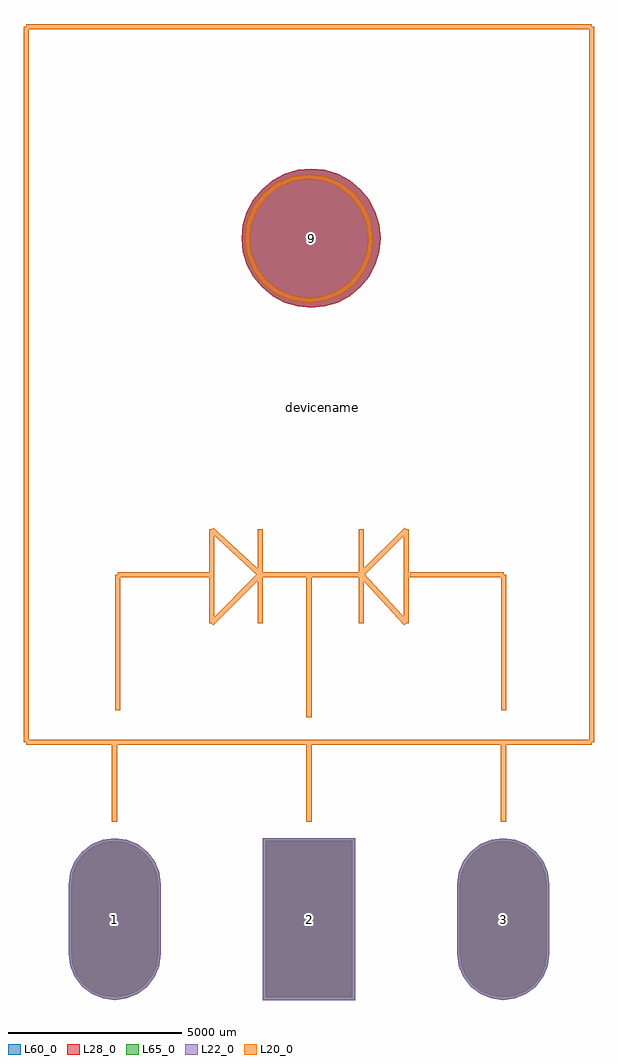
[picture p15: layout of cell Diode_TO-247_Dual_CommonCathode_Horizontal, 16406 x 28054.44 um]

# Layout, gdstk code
import gdstk
lib = gdstk.Library(unit=1e-6, precision=1e-09)
def R(c, l, rs):  # rectangles x0, y0, x1, y1
    for r in rs: c.add(gdstk.rectangle(r[:2], r[2:], *l))
def P(c, l, *ps):  # polygons
    for p in ps: c.add(gdstk.Polygon(p, *l))
L20_0 = (20, 0)
L22_0 = (22, 0)
L28_0 = (28, 0)
L60_0 = (60, 0)
L65_0 = (65, 0)

diode_to_247_dual_common = lib.new_cell('Diode_TO-247_Dual_CommonCathode_Horizontal')
R(diode_to_247_dual_common, L22_0, [(4260.78,-2325.44,6910.14,2325.44)])
P(diode_to_247_dual_common, L22_0, [(11173.46,-2325.44),(11516.312,-2280.303),(11835.8,-2147.967),(12110.15,-1937.45),(12320.667,-1663.1),(12453.003,-1343.612),(12498.14,-1000.76),(12498.14,1000.76),(12453.003,1343.612),(12320.667,1663.1),(12110.15,1937.45),(11835.8,2147.967),(11516.312,2280.303),(11173.46,2325.44),(10830.608,2280.303),(10511.12,2147.967),(10236.77,1937.45),(10026.253,1663.1),(9893.917,1343.612),(9848.78,1000.76),(9848.78,-1000.76),(9893.917,-1343.612),(10026.253,-1663.1),(10236.77,-1937.45),(10511.12,-2147.967),(10830.608,-2280.303)],
  [(-2.54,-2325.44),(340.312,-2280.303),(659.8,-2147.967),(934.15,-1937.45),(1144.667,-1663.1),(1277.003,-1343.612),(1322.14,-1000.76),(1322.14,1000.76),(1277.003,1343.612),(1144.667,1663.1),(934.15,1937.45),(659.8,2147.967),(340.312,2280.303),(-2.54,2325.44),(-345.392,2280.303),(-664.88,2147.967),(-939.23,1937.45),(-1149.747,1663.1),(-1282.083,1343.612),(-1327.22,1000.76),(-1327.22,-1000.76),(-1282.083,-1343.612),(-1149.747,-1663.1),(-939.23,-1937.45),(-664.88,-2147.967),(-345.392,-2280.303)])
R(diode_to_247_dual_common, L28_0, [(4335.78,-2250.44,6835.14,2250.44)])
P(diode_to_247_dual_common, L28_0, [(7649.21,19570.7),(7610.776,19960.929),(7496.95,20336.163),(7312.107,20681.979),(7063.35,20985.09),(6760.239,21233.847),(6414.423,21418.69),(6039.189,21532.516),(5648.96,21570.95),(5258.731,21532.516),(4883.497,21418.69),(4537.681,21233.847),(4234.57,20985.09),(3985.813,20681.979),(3800.97,20336.163),(3687.144,19960.929),(3648.71,19570.7),(3687.144,19180.471),(3800.97,18805.237),(3985.813,18459.421),(4234.57,18156.31),(4537.681,17907.553),(4883.497,17722.71),(5258.731,17608.884),(5648.96,17570.45),(6039.189,17608.884),(6414.423,17722.71),(6760.239,17907.553),(7063.35,18156.31),(7312.107,18459.421),(7496.95,18805.237),(7610.776,19180.471)],
  [(11173.46,-2250.44),(11496.901,-2207.858),(11798.3,-2083.015),(12057.117,-1884.417),(12255.715,-1625.6),(12380.558,-1324.201),(12423.14,-1000.76),(12423.14,1000.76),(12380.558,1324.201),(12255.715,1625.6),(12057.117,1884.417),(11798.3,2083.015),(11496.901,2207.858),(11173.46,2250.44),(10850.019,2207.858),(10548.62,2083.015),(10289.803,1884.417),(10091.205,1625.6),(9966.362,1324.201),(9923.78,1000.76),(9923.78,-1000.76),(9966.362,-1324.201),(10091.205,-1625.6),(10289.803,-1884.417),(10548.62,-2083.015),(10850.019,-2207.858)],
  [(-2.54,-2250.44),(320.901,-2207.858),(622.3,-2083.015),(881.117,-1884.417),(1079.715,-1625.6),(1204.558,-1324.201),(1247.14,-1000.76),(1247.14,1000.76),(1204.558,1324.201),(1079.715,1625.6),(881.117,1884.417),(622.3,2083.015),(320.901,2207.858),(-2.54,2250.44),(-325.981,2207.858),(-627.38,2083.015),(-886.197,1884.417),(-1084.795,1625.6),(-1209.638,1324.201),(-1252.22,1000.76),(-1252.22,-1000.76),(-1209.638,-1324.201),(-1084.795,-1625.6),(-886.197,-1884.417),(-627.38,-2083.015),(-325.981,-2207.858)])
R(diode_to_247_dual_common, L60_0, [(4335.78,-2250.44,6835.14,2250.44)])
P(diode_to_247_dual_common, L60_0, [(7649.21,19570.7),(7610.776,19960.929),(7496.95,20336.163),(7312.107,20681.979),(7063.35,20985.09),(6760.239,21233.847),(6414.423,21418.69),(6039.189,21532.516),(5648.96,21570.95),(5258.731,21532.516),(4883.497,21418.69),(4537.681,21233.847),(4234.57,20985.09),(3985.813,20681.979),(3800.97,20336.163),(3687.144,19960.929),(3648.71,19570.7),(3687.144,19180.471),(3800.97,18805.237),(3985.813,18459.421),(4234.57,18156.31),(4537.681,17907.553),(4883.497,17722.71),(5258.731,17608.884),(5648.96,17570.45),(6039.189,17608.884),(6414.423,17722.71),(6760.239,17907.553),(7063.35,18156.31),(7312.107,18459.421),(7496.95,18805.237),(7610.776,19180.471)],
  [(11173.46,-2250.44),(11496.901,-2207.858),(11798.3,-2083.015),(12057.117,-1884.417),(12255.715,-1625.6),(12380.558,-1324.201),(12423.14,-1000.76),(12423.14,1000.76),(12380.558,1324.201),(12255.715,1625.6),(12057.117,1884.417),(11798.3,2083.015),(11496.901,2207.858),(11173.46,2250.44),(10850.019,2207.858),(10548.62,2083.015),(10289.803,1884.417),(10091.205,1625.6),(9966.362,1324.201),(9923.78,1000.76),(9923.78,-1000.76),(9966.362,-1324.201),(10091.205,-1625.6),(10289.803,-1884.417),(10548.62,-2083.015),(10850.019,-2207.858)],
  [(-2.54,-2250.44),(320.901,-2207.858),(622.3,-2083.015),(881.117,-1884.417),(1079.715,-1625.6),(1204.558,-1324.201),(1247.14,-1000.76),(1247.14,1000.76),(1204.558,1324.201),(1079.715,1625.6),(881.117,1884.417),(622.3,2083.015),(320.901,2207.858),(-2.54,2250.44),(-325.981,2207.858),(-627.38,2083.015),(-886.197,1884.417),(-1084.795,1625.6),(-1209.638,1324.201),(-1252.22,1000.76),(-1252.22,-1000.76),(-1209.638,-1324.201),(-1084.795,-1625.6),(-886.197,-1884.417),(-627.38,-2083.015),(-325.981,-2207.858)])
R(diode_to_247_dual_common, L65_0, [(4260.78,-2325.44,6910.14,2325.44)])
P(diode_to_247_dual_common, L65_0, [(11173.46,-2325.44),(11516.312,-2280.303),(11835.8,-2147.967),(12110.15,-1937.45),(12320.667,-1663.1),(12453.003,-1343.612),(12498.14,-1000.76),(12498.14,1000.76),(12453.003,1343.612),(12320.667,1663.1),(12110.15,1937.45),(11835.8,2147.967),(11516.312,2280.303),(11173.46,2325.44),(10830.608,2280.303),(10511.12,2147.967),(10236.77,1937.45),(10026.253,1663.1),(9893.917,1343.612),(9848.78,1000.76),(9848.78,-1000.76),(9893.917,-1343.612),(10026.253,-1663.1),(10236.77,-1937.45),(10511.12,-2147.967),(10830.608,-2280.303)],
  [(-2.54,-2325.44),(340.312,-2280.303),(659.8,-2147.967),(934.15,-1937.45),(1144.667,-1663.1),(1277.003,-1343.612),(1322.14,-1000.76),(1322.14,1000.76),(1277.003,1343.612),(1144.667,1663.1),(934.15,1937.45),(659.8,2147.967),(340.312,2280.303),(-2.54,2325.44),(-345.392,2280.303),(-664.88,2147.967),(-939.23,1937.45),(-1149.747,1663.1),(-1282.083,1343.612),(-1327.22,1000.76),(-1327.22,-1000.76),(-1282.083,-1343.612),(-1149.747,-1663.1),(-939.23,-1937.45),(-664.88,-2147.967),(-345.392,-2280.303)])
diode_to_247_dual_common.add(gdstk.FlexPath([(13713.46,5080),(-2542.54,5080)], 149.998, ends="flush", simple_path=True, layer=20, datatype=0))  # L20_0
diode_to_247_dual_common.add(gdstk.FlexPath([(-2542.54,5080),(-2542.54,25654)], 149.998, ends="flush", simple_path=True, layer=20, datatype=0))  # L20_0
diode_to_247_dual_common.add(gdstk.FlexPath([(-2542.54,25654),(13713.46,25654)], 149.998, ends="flush", simple_path=True, layer=20, datatype=0))  # L20_0
diode_to_247_dual_common.add(gdstk.FlexPath([(13713.46,25654),(13713.46,5080)], 149.998, ends="flush", simple_path=True, layer=20, datatype=0))  # L20_0
diode_to_247_dual_common.add(gdstk.FlexPath([(7363.46,19558),(7302.876,20018.18),(7125.253,20447),(6842.696,20815.236),(6474.46,21097.793),(6045.64,21275.416),(5585.46,21336),(5125.28,21275.416),(4696.46,21097.793),(4328.224,20815.236),(4045.667,20447),(3868.044,20018.18),(3807.46,19558),(3868.044,19097.82),(4045.667,18669),(4328.224,18300.764),(4696.46,18018.207),(5125.28,17840.584),(5585.46,17780),(6045.64,17840.584),(6474.46,18018.207),(6842.696,18300.764),(7125.253,18669),(7302.876,19097.82),(7363.46,19558)], 149.998, ends="flush", simple_path=True, layer=20, datatype=0))  # L20_0
diode_to_247_dual_common.add(gdstk.FlexPath([(11173.46,2794),(11173.46,5080)], 149.998, ends="flush", simple_path=True, layer=20, datatype=0))  # L20_0
diode_to_247_dual_common.add(gdstk.FlexPath([(5585.46,2794),(5585.46,5080)], 149.998, ends="flush", simple_path=True, layer=20, datatype=0))  # L20_0
diode_to_247_dual_common.add(gdstk.FlexPath([(-2.54,2794),(-2.54,5080)], 149.998, ends="flush", simple_path=True, layer=20, datatype=0))  # L20_0
diode_to_247_dual_common.add(gdstk.FlexPath([(7086.6,11198.86),(7086.6,8498.84)], 149.998, ends="flush", simple_path=True, layer=20, datatype=0))  # L20_0
diode_to_247_dual_common.add(gdstk.FlexPath([(4185.92,11198.86),(4185.92,8498.84)], 149.998, ends="flush", simple_path=True, layer=20, datatype=0))  # L20_0
diode_to_247_dual_common.add(gdstk.FlexPath([(8384.54,8498.84),(7086.6,9900.92)], 149.998, ends="flush", simple_path=True, layer=20, datatype=0))  # L20_0
diode_to_247_dual_common.add(gdstk.FlexPath([(8384.54,11198.86),(8384.54,8498.84)], 149.998, ends="flush", simple_path=True, layer=20, datatype=0))  # L20_0
diode_to_247_dual_common.add(gdstk.FlexPath([(7086.6,9900.92),(8384.54,11198.86)], 149.998, ends="flush", simple_path=True, layer=20, datatype=0))  # L20_0
diode_to_247_dual_common.add(gdstk.FlexPath([(2786.38,8498.84),(4185.92,9900.92)], 149.998, ends="flush", simple_path=True, layer=20, datatype=0))  # L20_0
diode_to_247_dual_common.add(gdstk.FlexPath([(2786.38,11198.86),(2786.38,8498.84)], 149.998, ends="flush", simple_path=True, layer=20, datatype=0))  # L20_0
diode_to_247_dual_common.add(gdstk.FlexPath([(4185.92,9900.92),(2786.38,11198.86)], 149.998, ends="flush", simple_path=True, layer=20, datatype=0))  # L20_0
diode_to_247_dual_common.add(gdstk.FlexPath([(7086.6,9900.92),(4185.92,9900.92)], 149.998, ends="flush", simple_path=True, layer=20, datatype=0))  # L20_0
diode_to_247_dual_common.add(gdstk.FlexPath([(5585.46,9900.92),(5585.46,5798.82)], 149.998, ends="flush", simple_path=True, layer=20, datatype=0))  # L20_0
diode_to_247_dual_common.add(gdstk.FlexPath([(86.36,9900.92),(86.36,5999.48)], 149.998, ends="flush", simple_path=True, layer=20, datatype=0))  # L20_0
diode_to_247_dual_common.add(gdstk.FlexPath([(2786.38,9900.92),(86.36,9900.92)], 149.998, ends="flush", simple_path=True, layer=20, datatype=0))  # L20_0
diode_to_247_dual_common.add(gdstk.FlexPath([(11186.16,9900.92),(11186.16,5999.48)], 149.998, ends="flush", simple_path=True, layer=20, datatype=0))  # L20_0
diode_to_247_dual_common.add(gdstk.FlexPath([(8486.14,9900.92),(11186.16,9900.92)], 149.998, ends="flush", simple_path=True, layer=20, datatype=0))  # L20_0
diode_to_247_dual_common.add(gdstk.Label('9', (5648.96,19570.7), layer=60, texttype=0))
diode_to_247_dual_common.add(gdstk.Label('3', (11173.46,0), layer=28, texttype=0))
diode_to_247_dual_common.add(gdstk.Label('1', (-2.54,0), layer=28, texttype=0))
diode_to_247_dual_common.add(gdstk.Label('2', (5585.46,0), layer=28, texttype=0))
diode_to_247_dual_common.add(gdstk.Label('type', (4315.46,-5080), layer=9, texttype=0))
diode_to_247_dual_common.add(gdstk.Label('devicename', (5984.24,14698.98), layer=9, texttype=0))

lib.write_gds('Diode_TO-247_Dual_CommonCathode_Horizontal.gds')
